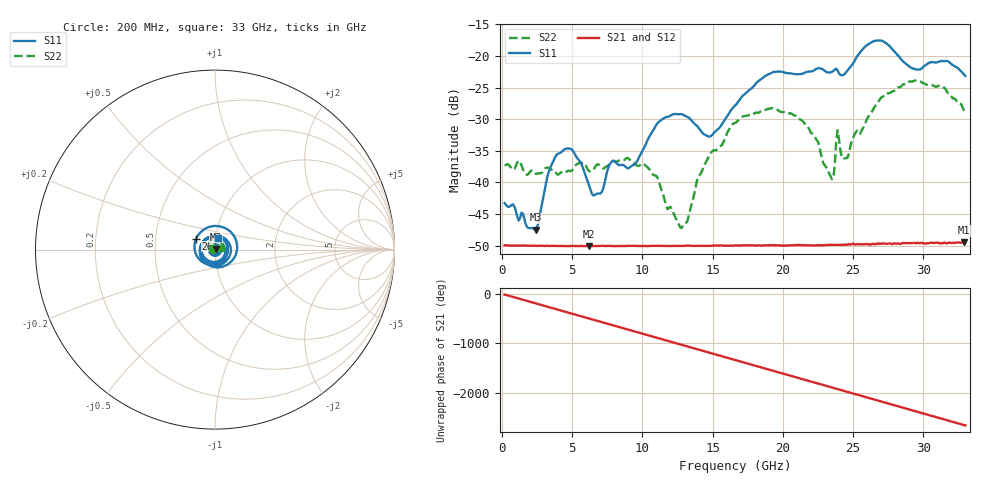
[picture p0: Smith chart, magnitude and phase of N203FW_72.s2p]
# GHZ S RI R 50
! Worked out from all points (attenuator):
!   329 points, 200 MHz to 33 GHz, reference 50 ohm
!   highest |S21| = -49.45 dB at 32.9 GHz (marker M1); lowest = -50.1 dB at 6.2 GHz (marker M2)
!   lowest |S11| = -47.5 dB at 2.4 GHz (marker M3), VSWR 1.01, Z = 50.3 + j0.28 ohm
!   |S11| at or under -10 dB: start of sweep to end of sweep
!   |S22| runs from -47.2 to -23.9 dB; largest |S21 - S12| = 8.8e-05
!   S11 on the Smith chart (normalised r, x): 200 MHz: 1.01, +0.00; 26 GHz: 0.80, +0.10; 33 GHz: 1.03, +0.14
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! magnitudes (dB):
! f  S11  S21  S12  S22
! 200 MHz  -43.3  -50.0  -49.9  -37.2
! 2.4 GHz  -47.5  -50.0  -50.0  -38.6
! 3.9 GHz  -35.7  -50.0  -50.0  -38.6
! 5.7 GHz  -37.3  -50.1  -50.0  -36.9
! 6.2 GHz  -40.4  -50.1  -50.1  -38.2
! 7 GHz  -41.8  -50.1  -50.0  -37.4
! 9.5 GHz  -37.1  -50.0  -50.0  -37.1
! 11.2 GHz  -30.4  -50.0  -50.0  -39.9
! 12.8 GHz  -29.2  -50.0  -50.0  -47.2
! 14.8 GHz  -32.8  -50.0  -50.0  -35.6
! 16.6 GHz  -27.9  -50.0  -50.0  -30.6
! 19.3 GHz  -22.6  -49.9  -49.9  -28.3
! 22.1 GHz  -22.4  -50.0  -49.9  -32.3
! 23.5 GHz  -22.5  -49.9  -49.8  -39.5
! 23.9 GHz  -22.3  -49.9  -49.9  -31.8
! 24.2 GHz  -23.1  -49.9  -49.8  -36.0
! 24.6 GHz  -22.3  -49.9  -49.8  -36.1
! 26 GHz  -18.3  -49.8  -49.7  -30.0
! 27.6 GHz  -18.4  -49.6  -49.7  -25.9
! 29.7 GHz  -22.2  -49.6  -49.6  -24.0
! 32.9 GHz  -22.9  -49.5  -49.4  -28.6
! 33 GHz  -23.2  -49.5  -49.5  -28.8
